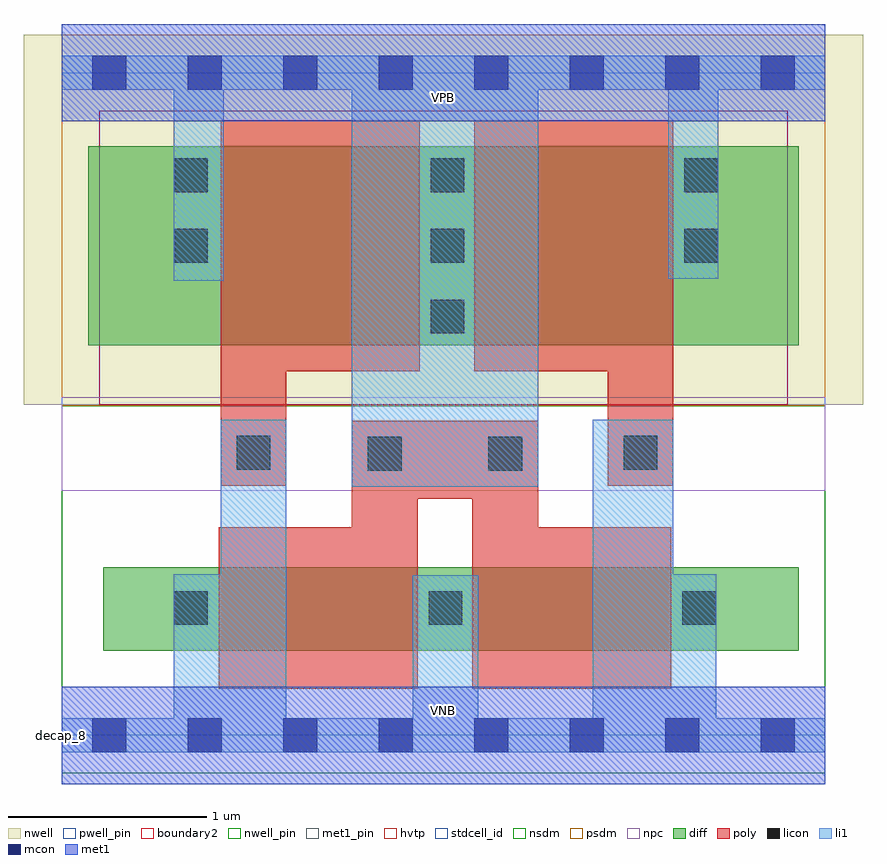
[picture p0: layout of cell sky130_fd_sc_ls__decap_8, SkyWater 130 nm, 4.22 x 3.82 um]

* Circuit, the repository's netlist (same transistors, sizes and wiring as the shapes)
* Copyright 2020 The SkyWater PDK Authors
*
* Licensed under the Apache License, Version 2.0 (the "License");
* you may not use this file except in compliance with the License.
* You may obtain a copy of the License at
*
*     https://www.apache.org/licenses/LICENSE-2.0
*
* Unless required by applicable law or agreed to in writing, software
* distributed under the License is distributed on an "AS IS" BASIS,
* WITHOUT WARRANTIES OR CONDITIONS OF ANY KIND, either express or implied.
* See the License for the specific language governing permissions and
* limitations under the License.
*
* SPDX-License-Identifier: Apache-2.0

.SUBCKT sky130_fd_sc_ls__decap_8 VGND VNB VPB VPWR
*.PININFO VGND:I VNB:I VPB:I VPWR:I
MI2 VPWR VGND VPWR VPB sky130_fd_pr__pfet_01v8_hvt m=2 w=1.0U l=1.0U mult=1 sa=0.265
+ sb=0.265 sd=0.28 area=0.063 perim=1.14
MI1 VGND VPWR VGND VNB sky130_fd_pr__nfet_01v8 m=2 w=0.42U l=1.0U mult=1 sa=0.265
+ sb=0.265 sd=0.28 area=0.063 perim=1.14
.ENDS sky130_fd_sc_ls__decap_8

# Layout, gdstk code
import gdstk
lib = gdstk.Library(unit=1e-6, precision=1e-09)
def R(c, l, rs):  # rectangles x0, y0, x1, y1
    for r in rs: c.add(gdstk.rectangle(r[:2], r[2:], *l))
def A(c, l, x, y, w, h, nx, ny, dx, dy):  # array of equal rectangles
    R(c, l, [(x+i*dx, y+j*dy, x+i*dx+w, y+j*dy+h) for i in range(nx) for j in range(ny)])
def P(c, l, *ps):  # polygons
    for p in ps: c.add(gdstk.Polygon(p, *l))
nwell_pin = (64, 16)
nwell = (64, 20)
diff = (65, 20)
poly = (66, 20)
licon = (66, 44)
li1 = (67, 20)
mcon = (67, 44)
met1_pin = (68, 16)
met1 = (68, 20)
hvtp = (78, 44)
stdcell_id = (81, 4)
nsdm = (93, 44)
psdm = (94, 20)
npc = (95, 20)
pwell_pin = (122, 16)
boundary2 = (236, 0)

sky130_fd_sc_ls__decap_8 = lib.new_cell('sky130_fd_sc_ls__decap_8')
R(sky130_fd_sc_ls__decap_8, nwell_pin, [(0,3.085,3.84,3.33)])
R(sky130_fd_sc_ls__decap_8, nwell, [(-0.19,1.66,4.03,3.52)])
R(sky130_fd_sc_ls__decap_8, diff, [(0.21,0.425,3.705,0.845), (0.135,1.96,3.705,2.96)])
P(sky130_fd_sc_ls__decap_8, poly, [(1.8,3.09),(0.8,3.09),(0.8,1.255),(1.13,1.255),(1.13,1.83),(1.8,1.83)],
  [(3.075,3.09),(2.075,3.09),(2.075,1.83),(2.745,1.83),(2.745,1.255),(3.075,1.255)],
  [(3.065,1.045),(2.395,1.045),(2.395,1.58),(1.46,1.58),(1.46,1.045),(0.79,1.045),(0.79,0.235),(1.79,0.235),(1.79,1.19),(2.065,1.19),(2.065,0.235),(3.065,0.235)])
A(sky130_fd_sc_ls__decap_8, licon, 1.855, 2.02, 0.17, 0.17, 1, 3, 0, 0.355)
R(sky130_fd_sc_ls__decap_8, licon, [(0.565,0.555,0.735,0.725), (1.845,0.555,2.015,0.725), (3.12,0.555,3.29,0.725), (1.54,1.33,1.71,1.5), (2.145,1.33,2.315,1.5), (0.88,1.335,1.05,1.505), (2.825,1.335,2.995,1.505), (0.565,2.375,0.735,2.545), (3.13,2.375,3.3,2.545), (0.565,2.73,0.735,2.9), (3.13,2.73,3.3,2.9)])
P(sky130_fd_sc_ls__decap_8, li1, [(3.84,0.085),(3.29,0.085),(3.29,0.81),(3.075,0.81),(3.075,1.585),(2.67,1.585),(2.67,0.085),(2.095,0.085),(2.095,0.805),(1.765,0.805),(1.765,0.085),(1.13,0.085),(1.13,1.585),(0.8,1.585),(0.8,0.81),(0.565,0.81),(0.565,0.085),(0,0.085),(0,-0.085),(3.84,-0.085)],
  [(3.84,3.415),(0,3.415),(0,3.245),(0.565,3.245),(0.565,2.285),(0.815,2.285),(0.815,3.245),(1.46,3.245),(1.46,1.25),(2.395,1.25),(2.395,3.245),(3.05,3.245),(3.05,2.295),(3.3,2.295),(3.3,3.245),(3.84,3.245)])
A(sky130_fd_sc_ls__decap_8, mcon, 0.155, -0.085, 0.17, 0.17, 8, 2, 0.48, 3.33)
R(sky130_fd_sc_ls__decap_8, met1_pin, [(0,0,3.84,0.245), (0,3.085,3.84,3.33)])
R(sky130_fd_sc_ls__decap_8, met1, [(0,-0.245,3.84,0.245), (0,3.085,3.84,3.575)])
R(sky130_fd_sc_ls__decap_8, hvtp, [(0.19,1.66,3.65,3.14)])
R(sky130_fd_sc_ls__decap_8, stdcell_id, [(0,0,3.84,3.33)])
R(sky130_fd_sc_ls__decap_8, nsdm, [(0,-0.19,3.84,1.655)])
R(sky130_fd_sc_ls__decap_8, psdm, [(0,1.655,3.84,3.52)])
R(sky130_fd_sc_ls__decap_8, npc, [(0,1.23,3.84,1.7)])
R(sky130_fd_sc_ls__decap_8, pwell_pin, [(0,0,3.84,0.245)])
R(sky130_fd_sc_ls__decap_8, boundary2, [(0,0,3.84,3.33)])
sky130_fd_sc_ls__decap_8.add(gdstk.Label('decap_8', (0,0), layer=83, texttype=44))
sky130_fd_sc_ls__decap_8.add(gdstk.Label('VNB', (1.92,0.123), layer=64, texttype=59))
sky130_fd_sc_ls__decap_8.add(gdstk.Label('VPB', (1.92,3.208), layer=64, texttype=5))
sky130_fd_sc_ls__decap_8.add(gdstk.Label('VGND', (1.92,0.123), layer=68, texttype=5))
sky130_fd_sc_ls__decap_8.add(gdstk.Label('VPWR', (1.92,3.208), layer=68, texttype=5))

lib.write_gds('sky130_fd_sc_ls__decap_8.gds')
